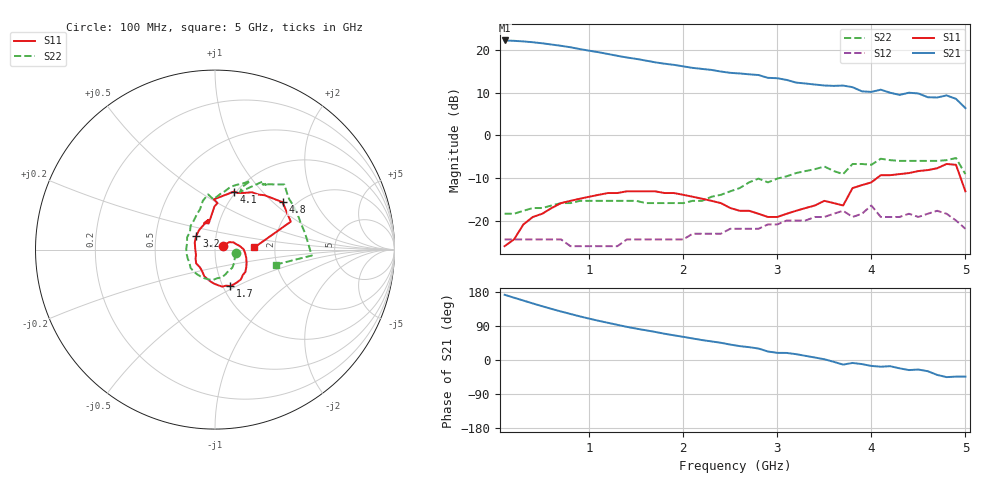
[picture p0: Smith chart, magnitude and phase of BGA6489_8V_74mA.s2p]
!BGA6489
!Scattering parameters
!Is=74mA Vs=8V
!Z0=50 Ohm
!Tamb 25C
#  MHz  S  MA  R 50
! Freq  S11  S21  S12  S22  :
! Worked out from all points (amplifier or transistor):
!   50 points, 100 MHz to 5 GHz, reference 50 ohm
!   highest |S21| = 22.2 dB at 100 MHz (marker M1)
!   |S21| within 3 dB of that: start of sweep to 1.157 GHz
!   unconditionally stable (mu >= 1): start of sweep to end of sweep
!   at 900 MHz: K = 1.19, MAG = 20.4 dB, |S12| = -26.0 dB
!   at 2.6 GHz: K = 1.29, MAG = 15.0 dB, |S12| = -21.9 dB
!   at 5 GHz: K = 2.52, MAG = 7.3 dB, |S12| = -21.9 dB
!   S11 on the Smith chart (normalised r, x): 100 MHz: 1.10, +0.04; 1.7 GHz: 1.09, -0.46; 3.2 GHz: 0.80, +0.13; 4.1 GHz: 0.98, +0.71; 4.8 GHz: 1.72, +1.15; 5 GHz: 1.56, +0.04
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100  0.05 21.2  12.92 172.1  0.06 0.1  0.12 -9.6
300  0.09 27.4  12.59 156.8  0.06 -0.4  0.13 -35.4
500  0.12 15.3  11.97 141.9  0.06 -0.3  0.14 -57.2
700  0.16 0.3  11.18 128.0  0.06 0.6  0.16 -76.8
1000  0.19 -22.2  9.8 109.2  0.05 3.2  0.17 -102.4
1400  0.22 -49.1  8.16 87.5  0.06 7.7  0.17 -134.8
1700  0.22 -67.0  7.16 74.2  0.06 11.9  0.16 -161.8
1800  0.21 -73.4  6.9 69.4  0.06 12.3  0.16 -171.9
2200  0.18 -97.6  5.99 52.5  0.07 15.1  0.17 145.3
2600  0.13 -129.8  5.3 36.7  0.08 14.7  0.24 110.3
2800  0.12 -154.5  5.08 30.3  0.08 15.6  0.31 97.1
2900  0.11 -164.4  4.71 22.4  0.09 11.6  0.28 91.8
3200  0.13 143.2  4.14 15.4  0.1 10.1  0.36 76.1
3400  0.15 116.1  3.93 6.5  0.11 9.7  0.4 67.2
3700  0.15 103.5  3.82 -12.1  0.13 -4.9  0.35 66.5
3800  0.24 90.8  3.66 -7.8  0.11 -2.3  0.46 55.2
3900  0.26 86.9  3.27 -10.8  0.12 -3.5  0.46 51.7
4100  0.34 71.9  3.42 -17.7  0.11 -16.8  0.53 43.2
4200  0.34 68.2  3.15 -16.4  0.11 -13.3  0.51 38.1
4600  0.39 51.9  2.79 -29.6  0.12 -16.9  0.5 21.1
4800  0.46 35.0  2.93 -45.2  0.12 -18.6  0.51 10.4
5000  0.22 3.1  2.08 -43.8  0.08 11.1  0.35 -13.8
